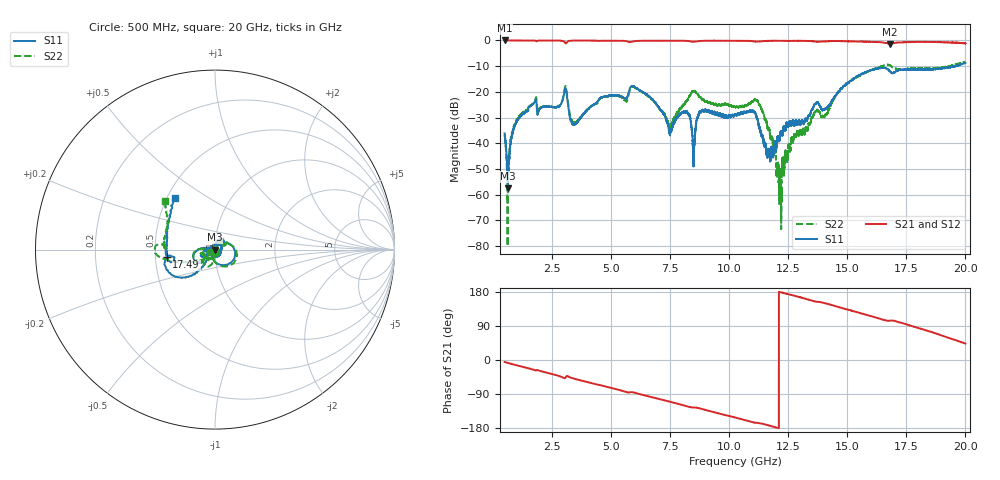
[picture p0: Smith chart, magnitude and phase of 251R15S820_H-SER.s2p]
!{251R15S820}
!Johanson Technology Inc.
!www.johansontechnology.com
!Test Board Conditions:
!Substrate Type  RO4350B
!Substrate Thickness  20 mil
!Substrate Dk  3.66
!TL Type: GCPW
!TL Trace Width  34 mil
!TL Gap  10 mil
!Electrode orientation  Horizontal
!DUT TOPOLOGY	SERIES
!Mounting Pad LxW  26x52 mil
! Created Thu Mar 12 17:16:36 2020
# mhz S ma R 50
! 2 Port Network Data from SP1.SP block
! freq  magS11  angS11  magS21  angS21  magS12  angS12  magS22  angS22
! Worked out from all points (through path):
!   19501 points, 500 MHz to 20 GHz, reference 50 ohm
!   highest |S21| = 0.00 dB at 509 MHz (marker M1); lowest = -1.3 dB at 16.82 GHz (marker M2)
!   group delay of S21, straight-line fit = 43.1 ps
!   lowest |S11| = -57.5 dB at 637 MHz (marker M3), VSWR 1.00, Z = 49.9 + j0.0177 ohm
!   |S11| at or under -10 dB: start of sweep to 19.54 GHz; 19.57808 GHz to 19.5938 GHz (15.72 MHz wide, 0.0802 % of centre); 19.59454 GHz to 19.59874 GHz (4.202 MHz wide, 0.0214 % of centre) (the widest 3 of 10)
!   |S22| runs from -80.0 to -8.3 dB; largest |S21 - S12| = 0.021
!   S11 on the Smith chart (normalised r, x): 500 MHz: 0.99, -0.03; 17.49 GHz: 0.58, -0.05; 20 GHz: 0.55, +0.36
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500  0.01562 -98.5  0.9991 -5.1  0.9991 -5.1  0.01467 -96.2
509  0.01423 -99.5  0.9995 -5.3  0.9984 -5.3  0.01346 -96.4
637  0.001341 172.4  0.999 -7.7  0.9991 -7.7  0.001188 87.9
943  0.02269 83.7  0.9983 -12.9  0.9986 -12.9  0.02422 74.9
1758  0.06189 68.2  0.9943 -26.1  0.9937 -26.1  0.06363 56.7
3068  0.1178 -18.9  0.8857 -47.2  0.8857 -47.3  0.1288 -19.0
3750  0.03269 -139.1  0.9937 -54.4  0.9938 -54.4  0.03337 -143.2
5911  0.1299 -155.6  0.952 -85.0  0.9515 -85.0  0.1271 -160.2
7000  0.05225 168.5  0.9884 -102.6  0.9908 -102.6  0.05156 178.9
7528  0.01649 75.8  0.9903 -110.6  0.9911 -110.6  0.02201 -107.7
8177  0.04086 28.0  0.9817 -121.3  0.981 -121.3  0.06563 -99.4
8495  0.004417 60.7  0.945 -125.1  0.9438 -125.1  0.1022 -120.0
8820  0.04137 70.9  0.9787 -128.7  0.9789 -128.7  0.07538 -137.4
10250  0.03638 -30.6  0.9878 -151.6  0.9882 -151.6  0.05092 -114.6
11248  0.02372 -147.7  0.9528 -166.3  0.9546 -166.3  0.05994 -147.4
11670  0.006794 147.6  0.9811 -172.5  0.9812 -172.4  0.01991 -172.5
12137  0.01229 139.2  0.9836 179.5  0.9867 179.6  0.002183 46.4
13500  0.04463 -166.4  0.9684 156.6  0.9697 156.8  0.03188 -102.5
16750  0.2666 -171.7  0.8728 103.7  0.8615 103.3  0.3352 179.1
16821  0.2483 -171.8  0.8583 103.9  0.8528 103.9  0.3252 175.5
17494  0.2716 -171.2  0.925 94.3  0.9286 94.1  0.2766 178.8
20000  0.3632 127.9  0.8779 43.3  0.8752 43.5  0.3865 135.7
